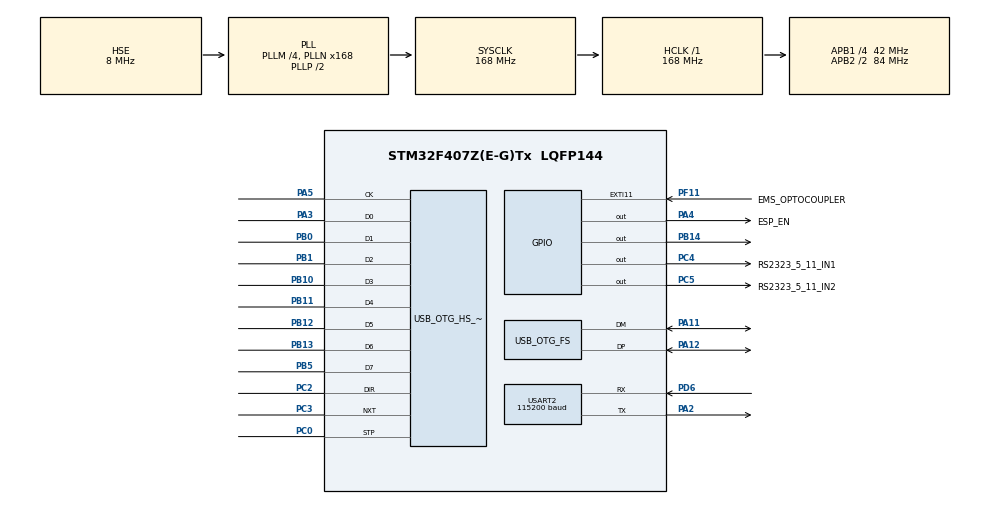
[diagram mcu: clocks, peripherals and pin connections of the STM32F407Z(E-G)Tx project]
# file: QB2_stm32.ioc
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Dma.Request0=USART2_RX
Dma.USART2_RX.0.Direction=DMA_PERIPH_TO_MEMORY
Dma.USART2_RX.0.FIFOMode=DMA_FIFOMODE_DISABLE
Dma.USART2_RX.0.Instance=DMA1_Stream5
Dma.USART2_RX.0.MemDataAlignment=DMA_MDATAALIGN_BYTE
Dma.USART2_RX.0.MemInc=DMA_MINC_ENABLE
Dma.USART2_RX.0.Mode=DMA_CIRCULAR
Dma.USART2_RX.0.PeriphDataAlignment=DMA_PDATAALIGN_BYTE
Dma.USART2_RX.0.PeriphInc=DMA_PINC_DISABLE
Dma.USART2_RX.0.Priority=DMA_PRIORITY_LOW
FREERTOS.HEAP_NUMBER=5
FREERTOS.Tasks01=defaultTask,24,128,StartDefaultTask,Default,NULL,Dynamic,NULL,NULL
FREERTOS.configTOTAL_HEAP_SIZE=65535
FREERTOS.configUSE_NEWLIB_REENTRANT=1
Mcu.Family=STM32F4
Mcu.Name=STM32F407Z(E-G)Tx
Mcu.Package=LQFP144
NVIC.DMA1_Stream5_IRQn=true\:5\:0\:false\:false\:true\:true\:false\:true\:true
NVIC.OTG_FS_IRQn=true\:5\:0\:false\:false\:true\:true\:true\:true\:true
NVIC.OTG_HS_IRQn=true\:5\:0\:false\:false\:true\:true\:true\:true\:true
NVIC.PriorityGroup=NVIC_PRIORITYGROUP_4
PA11.Mode=Host_Only
PA11.Signal=USB_OTG_FS_DM
PA12.Mode=Host_Only
PA12.Signal=USB_OTG_FS_DP
PA13.Mode=Serial_Wire
PA13.Signal=SYS_JTMS-SWDIO
PA14.Mode=Serial_Wire
PA14.Signal=SYS_JTCK-SWCLK
PA2.GPIO_PuPd=GPIO_PULLUP
PA2.GPIO_Speed=GPIO_SPEED_FREQ_VERY_HIGH
PA2.Mode=Asynchronous
PA2.Signal=USART2_TX
PA3.Mode=Host_HS
PA3.Signal=USB_OTG_HS_ULPI_D0
PA4.GPIO_Label=ESP_EN
PA4.GPIO_PuPd=GPIO_PULLUP
PA4.PinState=GPIO_PIN_SET
PA4.Signal=GPIO_Output
PA5.Mode=Host_HS
PA5.Signal=USB_OTG_HS_ULPI_CK
PB0.Mode=Host_HS
PB0.Signal=USB_OTG_HS_ULPI_D1
PB1.Mode=Host_HS
PB1.Signal=USB_OTG_HS_ULPI_D2
PB10.Mode=Host_HS
PB10.Signal=USB_OTG_HS_ULPI_D3
PB11.Mode=Host_HS
PB11.Signal=USB_OTG_HS_ULPI_D4
PB12.Mode=Host_HS
PB12.Signal=USB_OTG_HS_ULPI_D5
PB13.Mode=Host_HS
PB13.Signal=USB_OTG_HS_ULPI_D6
PB14.PinState=GPIO_PIN_SET
PB14.Signal=GPIO_Output
PB5.Mode=Host_HS
PB5.Signal=USB_OTG_HS_ULPI_D7
PC0.Mode=Host_HS
PC0.Signal=USB_OTG_HS_ULPI_STP
PC2.Mode=Host_HS
PC2.Signal=USB_OTG_HS_ULPI_DIR
PC3.Mode=Host_HS
PC3.Signal=USB_OTG_HS_ULPI_NXT
PC4.GPIO_Label=RS2323_5_11_IN1
PC4.Signal=GPIO_Output
PC5.GPIO_Label=RS2323_5_11_IN2
PC5.Signal=GPIO_Output
PD6.GPIO_PuPd=GPIO_PULLUP
PD6.GPIO_Speed=GPIO_SPEED_FREQ_VERY_HIGH
PD6.Mode=Asynchronous
PD6.Signal=USART2_RX
PF11.GPIO_Label=EMS_OPTOCOUPLER
PF11.GPIO_PuPd=GPIO_PULLUP
PF11.Signal=GPXTI11
PH0-OSC_IN.Mode=HSE-External-Oscillator
PH0-OSC_IN.Signal=RCC_OSC_IN
PH1-OSC_OUT.Mode=HSE-External-Oscillator
PH1-OSC_OUT.Signal=RCC_OSC_OUT
ProjectManager.HeapSize=0x4000
ProjectManager.StackSize=0x4000
ProjectManager.TargetToolchain=STM32CubeIDE
RCC.48MHZClocksFreq_Value=48000000
RCC.AHBFreq_Value=168000000
RCC.APB1CLKDivider=RCC_HCLK_DIV4
RCC.APB1Freq_Value=42000000
RCC.APB1TimFreq_Value=84000000
RCC.APB2CLKDivider=RCC_HCLK_DIV2
RCC.APB2Freq_Value=84000000
RCC.APB2TimFreq_Value=168000000
RCC.CortexFreq_Value=168000000
RCC.HCLKFreq_Value=168000000
RCC.HSE_VALUE=8000000
RCC.HSI_VALUE=16000000
RCC.LSE_VALUE=32768
RCC.PLLM=4
RCC.PLLN=168
RCC.PLLQ=7
RCC.RCC_MCO1Source=RCC_MCO1SOURCE_PLLCLK
RCC.RCC_MCODiv1=RCC_MCODIV_5
RCC.RCC_RTC_Clock_Source=RCC_RTCCLKSOURCE_LSI
RCC.RCC_RTC_Clock_SourceVirtual=RCC_RTCCLKSOURCE_LSI
RCC.SYSCLKFreq_VALUE=168000000
RCC.SYSCLKSource=RCC_SYSCLKSOURCE_PLLCLK
RCC.VCOOutputFreq_Value=336000000
USART2.BaudRate=115200
USART2.VirtualMode=VM_ASYNC
USB_HOST.USBH_DEBUG_LEVEL-AUDIO_HS=3
USB_HOST.USBH_HandleTypeDef-AUDIO_FS=hUsbHostFS
USB_HOST.USBH_HandleTypeDef-AUDIO_HS=hUsbHostHS
USB_HOST.USBH_MAX_DATA_BUFFER-AUDIO_HS=1024
USB_HOST.USBH_MAX_NUM_CONFIGURATION-AUDIO_HS=5
USB_HOST.USBH_MAX_NUM_ENDPOINTS-AUDIO_HS=10
USB_HOST.USBH_PROCESS_STACK_SIZE-AUDIO_HS=2048
USB_HOST.VirtualModeFS=Audio
USB_HOST.VirtualModeHS=Audio
USB_OTG_FS.Sof_enable=ENABLE
USB_OTG_FS.VirtualMode=Host_Only
USB_OTG_FS.phy_itface=HCD_PHY_EMBEDDED
USB_OTG_HS.VirtualMode-Host_HS=Host_HS
USB_OTG_HS.dma_enable-Host_HS=ENABLE
VP_FREERTOS_VS_CMSIS_V2.Mode=CMSIS_V2
VP_USB_HOST_VS_USB_HOST_AUDIO_FS.Mode=AUDIO_FS
VP_USB_HOST_VS_USB_HOST_AUDIO_HS.Mode=AUDIO_HS
board=custom

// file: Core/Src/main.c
/* USER CODE BEGIN Header */
/**
 ******************************************************************************
 * @file           : main.c
 * @brief          : Main program body
 ******************************************************************************
 * @attention
 *
 * Copyright (c) 2022 STMicroelectronics.
 * All rights reserved.
 *
 * This software is licensed under terms that can be found in the LICENSE file
 * in the root directory of this software component.
 * If no LICENSE file comes with this software, it is provided AS-IS.
 *
 ******************************************************************************
 */
/* USER CODE END Header */
#include "main.h"
#include "cmsis_os.h"
#include "dma.h"
#include "usart.h"
#include "usb_host.h"
#include "gpio.h"

/* USER CODE BEGIN Includes */
#include <math.h>
#include <stdint.h>
#include <stdio.h>
#include <stdlib.h>
#include <string.h>
#include <strings.h>

#include "cmsis_gcc.h"
#include "usb_host.h"
#include "usbh_video.h"
#include "usbh_video_stream_parsing.h"

/* USER CODE END Includes */

/* USER CODE BEGIN PTD */
#define USE_QB2          1
#define USE_MPU          0
#define HARDWARE_VERSION "V1.0.0"
#define SOFTWARE_VERSION "V0.1.0"
/* USER CODE END PTD */

/* USER CODE BEGIN PD */
char version_[] = "v1.0.0";
/* USER CODE END PD */

/* USER CODE BEGIN PV */

// static uint32_t dcmi_line_buf[dcmi_buf_size];
/* USER CODE END PV */

void SystemClock_Config(void);
void MX_FREERTOS_Init(void);

/* USER CODE BEGIN 0 */
#ifdef __GNUC__
#define PUTCHAR_PROTOTYPE int __io_putchar(int ch)
#else
#define PUTCHAR_PROTOTYPE int fputc(int ch, FILE *f)
#endif

PUTCHAR_PROTOTYPE {
  HAL_UART_Transmit(&huart2, (uint8_t *) &ch, 1, HAL_MAX_DELAY);
  return ch;
}

volatile uint8_t uvc_framebuffer3[UVC_MAX_FRAME_SIZE];
/* USER CODE END 0 */

int main(void)
{
  /* USER CODE BEGIN 1 */
  // Vector_Init_Setting(FLASH_BASE);
  /* USER CODE END 1 */

  /* MCU Configuration--------------------------------------------------------*/

  /* Reset of all peripherals, Initializes the Flash interface and the Systick. */
  HAL_Init();

  /* Configure the system clock */
  SystemClock_Config();

  /* Initialize all configured peripherals */
  MX_GPIO_Init();
  MX_DMA_Init();
  MX_USART2_UART_Init();
  /* USER CODE BEGIN 2 */
  // InitExtraSections();
  printf("this is a version. %s\r\n", version_);
  video_stream_init_buffers((uint8_t *) uvc_framebuffer3, (uint8_t *) uvc_framebuffer3);
  // videoPacketArrivedCallback(videoCallback);

  /* USER CODE END 2 */

  /* Init scheduler */
  osKernelInitialize();  /* Call init function for freertos objects (in freertos.c) */
  MX_FREERTOS_Init();

  /* Start scheduler */
  osKernelStart();
  /* We should never get here as control is now taken by the scheduler */
  /* Infinite loop */
  while (1) {

  }
}

void SystemClock_Config(void)
{
  RCC_OscInitTypeDef RCC_OscInitStruct = {0};
  RCC_ClkInitTypeDef RCC_ClkInitStruct = {0};

  /** Configure the main internal regulator output voltage
  */
  __HAL_RCC_PWR_CLK_ENABLE();
  __HAL_PWR_VOLTAGESCALING_CONFIG(PWR_REGULATOR_VOLTAGE_SCALE1);

  /** Initializes the RCC Oscillators according to the specified parameters
  * in the RCC_OscInitTypeDef structure.
  */
  RCC_OscInitStruct.OscillatorType = RCC_OSCILLATORTYPE_HSE;
  RCC_OscInitStruct.HSEState = RCC_HSE_ON;
  RCC_OscInitStruct.PLL.PLLState = RCC_PLL_ON;
  RCC_OscInitStruct.PLL.PLLSource = RCC_PLLSOURCE_HSE;
  RCC_OscInitStruct.PLL.PLLM = 4;
  RCC_OscInitStruct.PLL.PLLN = 168;
  RCC_OscInitStruct.PLL.PLLP = RCC_PLLP_DIV2;
  RCC_OscInitStruct.PLL.PLLQ = 7;
  if (HAL_RCC_OscConfig(&RCC_OscInitStruct) != HAL_OK)
  {
    Error_Handler();
  }

  /** Initializes the CPU, AHB and APB buses clocks
  */
  RCC_ClkInitStruct.ClockType = RCC_CLOCKTYPE_HCLK|RCC_CLOCKTYPE_SYSCLK
                              |RCC_CLOCKTYPE_PCLK1|RCC_CLOCKTYPE_PCLK2;
  RCC_ClkInitStruct.SYSCLKSource = RCC_SYSCLKSOURCE_PLLCLK;
  RCC_ClkInitStruct.AHBCLKDivider = RCC_SYSCLK_DIV1;
  RCC_ClkInitStruct.APB1CLKDivider = RCC_HCLK_DIV4;
  RCC_ClkInitStruct.APB2CLKDivider = RCC_HCLK_DIV2;

  if (HAL_RCC_ClockConfig(&RCC_ClkInitStruct, FLASH_LATENCY_5) != HAL_OK)
  {
    Error_Handler();
  }
}

void Error_Handler(void)
{
  __disable_irq();
  while (1) {
  }
}

#ifdef  USE_FULL_ASSERT
/**
  * @brief  Reports the name of the source file and the source line number
  *         where the assert_param error has occurred.
  * @param  file: pointer to the source file name
  * @param  line: assert_param error line source number
  * @retval None
  */
void assert_failed(uint8_t *file, uint32_t line)
{
  /* USER CODE BEGIN 6 */
  /* User can add his own implementation to report the file name and line
     number, ex: printf("Wrong parameters value: file %s on line %d\r\n", file,
     line) */
  /* USER CODE END 6 */
}
#endif /* USE_FULL_ASSERT */

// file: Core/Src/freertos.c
/* USER CODE BEGIN Header */
/**
  ******************************************************************************
  * File Name          : freertos.c
  * Description        : Code for freertos applications
  ******************************************************************************
  * @attention
  *
  * Copyright (c) 2023 STMicroelectronics.
  * All rights reserved.
  *
  * This software is licensed under terms that can be found in the LICENSE file
  * in the root directory of this software component.
  * If no LICENSE file comes with this software, it is provided AS-IS.
  *
  ******************************************************************************
  */
/* USER CODE END Header */

#include "FreeRTOS.h"
#include "task.h"
#include "main.h"
#include "cmsis_os.h"

/* Definitions for defaultTask */
osThreadId_t defaultTaskHandle;
const osThreadAttr_t defaultTask_attributes = {
  .name = "defaultTask",
  .stack_size = 128 * 4,
  .priority = (osPriority_t) osPriorityNormal,
};

void StartDefaultTask(void *argument);

extern void MX_USB_HOST_Init(void);
void MX_FREERTOS_Init(void); /* (MISRA C 2004 rule 8.1) */

void MX_FREERTOS_Init(void) {

  /* Create the thread(s) */
  /* creation of defaultTask */
  defaultTaskHandle = osThreadNew(StartDefaultTask, NULL, &defaultTask_attributes);

}

void StartDefaultTask(void *argument)
{
  /* init code for USB_HOST */
  MX_USB_HOST_Init();
  /* USER CODE BEGIN StartDefaultTask */
  /* Infinite loop */
  for(;;)
  {
    osDelay(1000);
  }
  /* USER CODE END StartDefaultTask */
}
